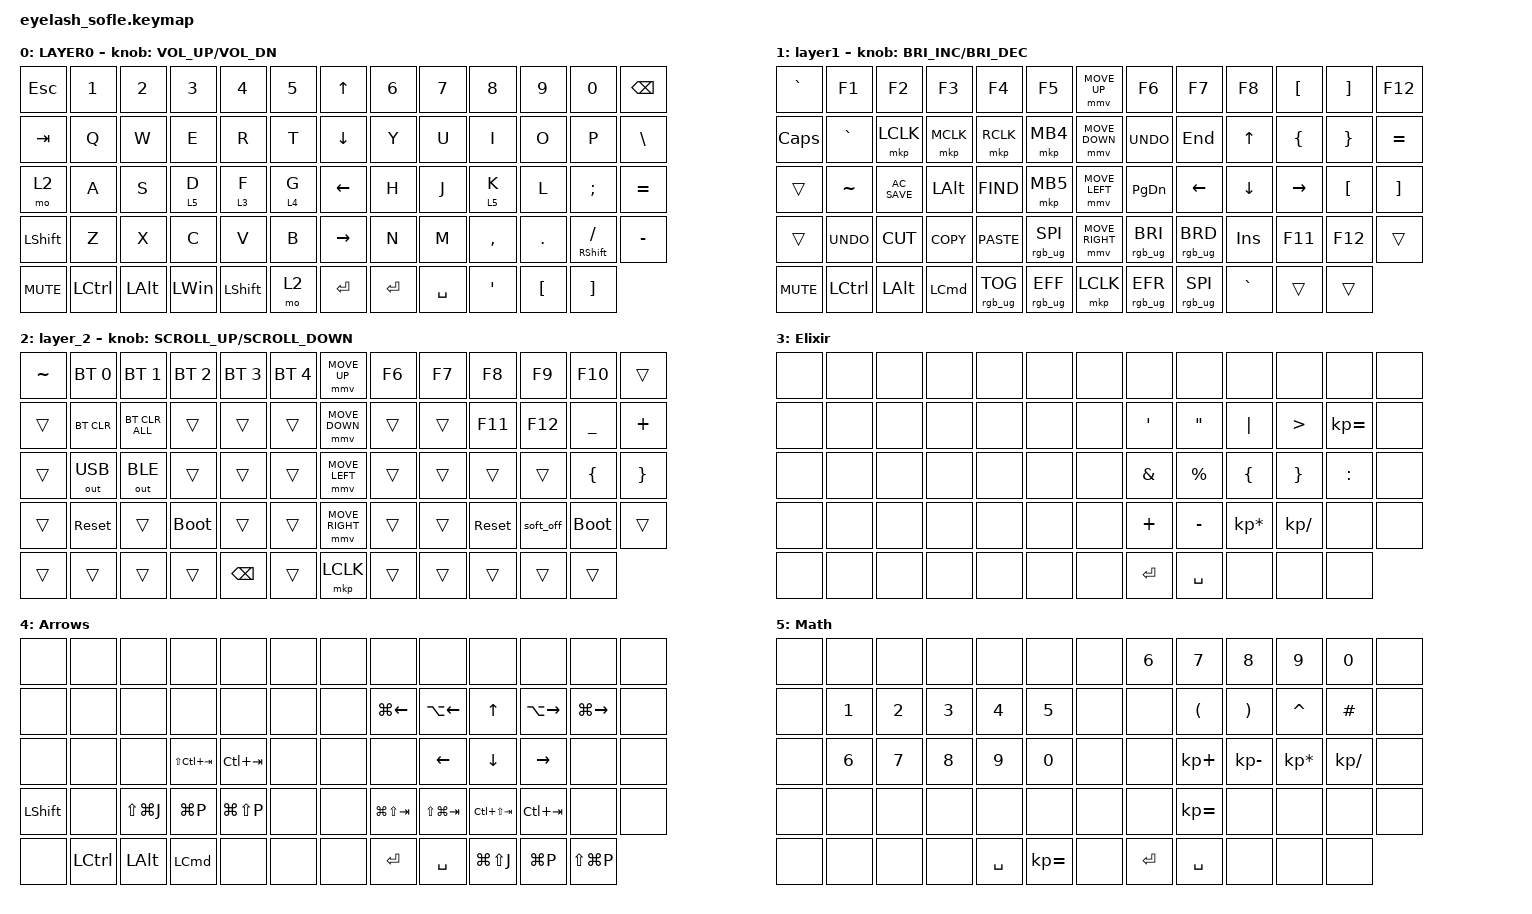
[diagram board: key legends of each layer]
#define ZMK_POINTING_DEFAULT_MOVE_VAL 1200  // 600
#define ZMK_POINTING_DEFAULT_SCRL_VAL 25   // 10

#include <input/processors.dtsi>
#include <zephyr/dt-bindings/input/input-event-codes.h>
#include <behaviors.dtsi>
#include <dt-bindings/zmk/bt.h>
#include <dt-bindings/zmk/keys.h>
#include <dt-bindings/zmk/outputs.h>
#include <dt-bindings/zmk/pointing.h>
#include <dt-bindings/zmk/rgb.h>

&mmv_input_listener { input-processors = <&zip_xy_scaler 2 1>; };

&msc_input_listener { input-processors = <&zip_scroll_scaler 2 1>; };

&msc {
    acceleration-exponent = <1>;      // 0
    time-to-max-speed-ms = <100>;       // 300
    delay-ms = <0>;                   // 0
};

&mmv {
    time-to-max-speed-ms = <500>;
    acceleration-exponent = <1>;
    trigger-period-ms = <16>;
};

&lt {
};

&mt { flavor = "tap-preferred"; };

/ {
    scroll_encoder: scroll_encoder {
        compatible = "zmk,behavior-sensor-rotate";
        #sensor-binding-cells = <0>;
        bindings = <&msc SCRL_DOWN>, <&msc SCRL_UP>;

        tap-ms = <100>;
    };

    behaviors {
    };

    keymap {
        compatible = "zmk,keymap";

        layer0 {
            bindings = <
&kp ESCAPE      &kp N1     &kp N2        &kp N3        &kp N4          &kp N5     &kp UP_ARROW     &kp N6     &kp N7     &kp N8            &kp N9            &kp N0                 &kp BACKSPACE
&kp TAB         &kp Q      &kp W         &kp E         &kp R           &kp T      &kp DOWN_ARROW   &kp Y      &kp U      &kp I             &kp O             &kp P                  &kp BSLH
&mo 2           &kp A      &kp S         &lt 5 D       &lt 3 F         &lt 4 G    &kp LEFT_ARROW   &kp H      &kp J      &lt 5 K           &kp L             &kp SEMI               &kp EQUAL
&kp LEFT_SHIFT  &kp Z      &kp X         &kp C         &kp V           &kp B      &kp RIGHT_ARROW  &kp N      &kp M      &kp COMMA         &kp DOT           &mt RIGHT_SHIFT SLASH  &kp MINUS
&kp C_MUTE      &kp LCTRL  &kp LEFT_ALT  &kp LEFT_WIN  &kp LEFT_SHIFT  &mo 2      &kp ENTER        &kp ENTER  &kp SPACE  &kp SINGLE_QUOTE  &kp LEFT_BRACKET  &kp RIGHT_BRACKET
            >;

            sensor-bindings = <&inc_dec_kp C_VOLUME_UP C_VOL_DN>;
            display-name = "LAYER0";
        };

        layer_1 {
            bindings = <
&kp GRAVE     &kp F1            &kp F2         &kp F3            &kp F4           &kp F5             &mmv MOVE_UP     &kp F6           &kp F7           &kp F8      &kp LEFT_BRACKET  &kp RIGHT_BRACKET  &kp F12
&kp CAPSLOCK  &kp GRAVE         &mkp LCLK      &mkp MCLK         &mkp RCLK        &mkp MB4           &mmv MOVE_DOWN   &kp K_UNDO       &kp END          &kp UP      &kp LEFT_BRACE    &kp RIGHT_BRACE    &kp EQUAL
&trans        &kp TILDE         &kp C_AC_SAVE  &kp LEFT_ALT      &kp K_FIND       &mkp MB5           &mmv MOVE_LEFT   &kp PG_DN        &kp LEFT         &kp DOWN    &kp RIGHT         &kp LEFT_BRACKET   &kp RIGHT_BRACKET
&trans        &kp K_UNDO        &kp K_CUT      &kp K_COPY        &kp K_PASTE      &rgb_ug RGB_SPI    &mmv MOVE_RIGHT  &rgb_ug RGB_BRI  &rgb_ug RGB_BRD  &kp INSERT  &kp F11           &kp F12            &trans
&kp C_MUTE    &kp LEFT_CONTROL  &kp LEFT_ALT   &kp LEFT_COMMAND  &rgb_ug RGB_TOG  &rgb_ug RGB_EFF    &mkp LCLK        &rgb_ug RGB_EFR  &rgb_ug RGB_SPI  &kp GRAVE   &trans            &trans
            >;

            display-name = "layer1";
            sensor-bindings = <&inc_dec_kp C_BRIGHTNESS_INC C_BRIGHTNESS_DEC>;
        };

        layer_2 {
            bindings = <
&kp TILDE  &bt BT_SEL 0  &bt BT_SEL 1    &bt BT_SEL 2  &bt BT_SEL 3   &bt BT_SEL 4    &mmv MOVE_UP     &kp F6  &kp F7  &kp F8      &kp F9     &kp F10      &trans
&trans     &bt BT_CLR    &bt BT_CLR_ALL  &trans        &trans         &trans          &mmv MOVE_DOWN   &trans  &trans  &kp F11     &kp F12    &kp UNDER    &kp PLUS
&trans     &out OUT_USB  &out OUT_BLE    &trans        &trans         &trans          &mmv MOVE_LEFT   &trans  &trans  &trans      &trans     &kp LBRC     &kp RBRC
&trans     &sys_reset    &trans          &bootloader   &trans         &trans          &mmv MOVE_RIGHT  &trans  &trans  &sys_reset  &soft_off  &bootloader  &trans
&trans     &trans        &trans          &trans        &kp BACKSPACE  &trans          &mkp LCLK        &trans  &trans  &trans      &trans     &trans
            >;

            sensor-bindings = <&inc_dec_kp K_SCROLL_UP K_SCROLL_DOWN>;
        };

        Elixir {
            bindings = <
&none  &none  &none  &none  &none  &none    &none  &none             &none              &none            &none             &none         &none
&none  &none  &none  &none  &none  &none    &none  &kp SINGLE_QUOTE  &kp DOUBLE_QUOTES  &kp PIPE         &kp GREATER_THAN  &kp KP_EQUAL  &none
&none  &none  &none  &none  &none  &none    &none  &kp AMPS          &kp PERCENT        &kp LEFT_BRACE   &kp RIGHT_BRACE   &kp COLON     &none
&none  &none  &none  &none  &none  &none    &none  &kp PLUS          &kp MINUS          &kp KP_MULTIPLY  &kp KP_DIVIDE     &none         &none
&none  &none  &none  &none  &none  &none    &none  &kp ENTER         &kp SPACE          &none            &none             &none
            >;
        };

        Arrows {
            bindings = <
&none           &none             &none          &none             &none          &none    &none  &none               &none               &none            &none                &none                &none
&none           &none             &none          &none             &none          &none    &none  &kp LG(LEFT_ARROW)  &kp LA(LEFT_ARROW)  &kp UP_ARROW     &kp LA(RIGHT_ARROW)  &kp LG(RIGHT_ARROW)  &none
&none           &none             &none          &kp LS(LC(TAB))   &kp LC(TAB)    &none    &none  &none               &kp LEFT_ARROW      &kp DOWN_ARROW   &kp RIGHT_ARROW      &none                &none
&kp LEFT_SHIFT  &none             &kp LS(LG(J))  &kp LG(P)         &kp LG(LS(P))  &none    &none  &kp LG(LS(TAB))     &kp LS(LG(TAB))     &kp LC(LS(TAB))  &kp LC(TAB)          &none                &none
&none           &kp LEFT_CONTROL  &kp LEFT_ALT   &kp LEFT_COMMAND  &none          &none    &none  &kp ENTER           &kp SPACE           &kp LG(LS(J))    &kp LG(P)            &kp LS(LG(P))
            >;
        };

        Math {
            bindings = <
&none  &none         &none         &none         &none         &none           &none  &kp NUMBER_6  &kp N7                &kp N8                 &kp N9           &kp N0         &none
&none  &kp NUMBER_1  &kp NUMBER_2  &kp NUMBER_3  &kp NUMBER_4  &kp N5          &none  &none         &kp LEFT_PARENTHESIS  &kp RIGHT_PARENTHESIS  &kp CARET        &kp HASH       &none
&none  &kp NUMBER_6  &kp N7        &kp N8        &kp N9        &kp N0          &none  &none         &kp KP_PLUS           &kp KP_SUBTRACT        &kp KP_MULTIPLY  &kp KP_DIVIDE  &none
&none  &none         &none         &none         &none         &none           &none  &none         &kp KP_EQUAL          &none                  &none            &none          &none
&none  &none         &none         &none         &kp SPACE     &kp KP_EQUAL    &none  &kp ENTER     &kp SPACE             &none                  &none            &none
            >;
        };
    };
};
